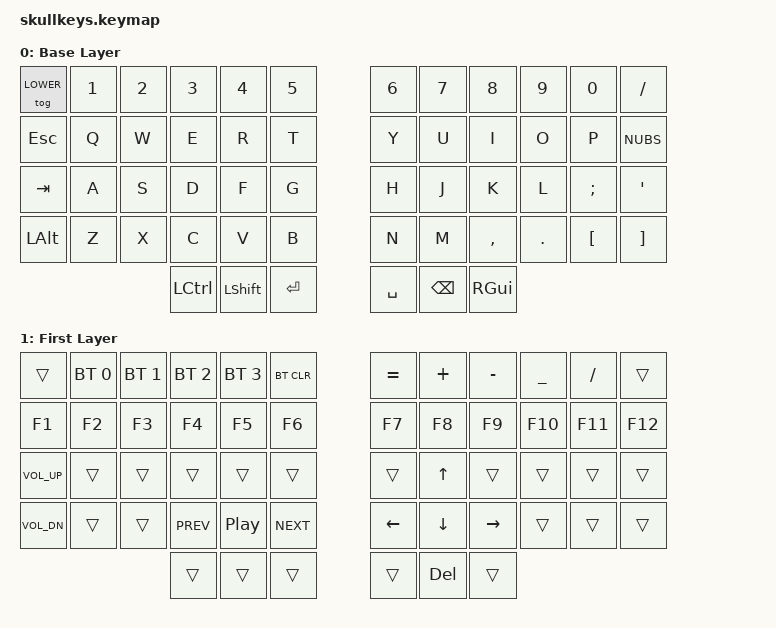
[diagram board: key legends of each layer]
/*
 * Copyright (c) 2020 The ZMK Contributors
 *
 * SPDX-License-Identifier: MIT
 */

#include <behaviors.dtsi>
#include <dt-bindings/zmk/keys.h>
#include <dt-bindings/zmk/bt.h>
#include <dt-bindings/zmk/ext_power.h>

#define DEFAULT 0
#define LOWER   1

&mt {
    tapping-term-ms = <400>;
};

/{
        keymap {
                compatible = "zmk,keymap";

                default_layer { //Layer 0
                        display-name = "Base Layer";
// ------------------------------------------------------------------------------------------------------------
// |  LYR1 |  1  |  2  |  3   |  4   |  5   |                   |  6   |  7    |  8    |  9   |   0   |   /   |
// |  ESC  |  Q  |  W  |  E   |  R   |  T   |                   |  Y   |  U    |  I    |  O   |   P   |   |   |
// |  TAB  |  A  |  S  |  D   |  F   |  G   |                   |  H   |  J    |  K    |  L   |   :   |   "   |
// |  ALT  |  Z  |  X  |  C   |  V   |  B   |                   |  N   |  M    |  ,    |  .   |   {   |   }   |
//                     | SHTF | CTRL | ENTER|                   | SPCE |BCKSPCE|  WIN  |
            bindings = <
&tog LOWER &kp N1  &kp N2    &kp N3    &kp N4    &kp N5          &kp N6    &kp N7    &kp N8       &kp N9  &kp N0    &kp SLASH
&kp ESC    &kp Q   &kp W     &kp E     &kp R     &kp T           &kp Y     &kp U     &kp I        &kp O   &kp P     &kp NUBS
&kp TAB    &kp A   &kp S     &kp D     &kp F     &kp G           &kp H     &kp J     &kp K        &kp L   &kp SEMI  &kp SQT
&kp LALT   &kp Z   &kp X     &kp C     &kp V     &kp B           &kp N     &kp M     &kp COMMA    &kp DOT &kp LBKT  &kp RBKT
                             &kp LCTRL &kp LSHFT &kp RET         &kp SPACE &kp BSPC  &kp RIGHT_GUI
                        >;
                };
                lower_layer {  //Layer 1
                        display-name = "First Layer";
// ------------------------------------------------------------------------------------------------------------
// |  LYR0  | BT0 | BT1 |   BT2  |  BT3  |  BTCLR  |                 |  =   |   +   |  "-"  |  "_" |       |       |
// |   F1   |  F2 |  F3 |   F4   |  F5   |   F6    |                 |  F7  |   F8  |   F9  |  F10 |  F11  |  F12  |
// | M.Vol+ |     |     |        |       |         |                 |      |   UP  |       |      |       |       |
// | M.Vol- |     |     | M.Prev |  M.PP |  M.Next |                 | LEFT |  DOWN | RIGHT |      |       |       |
//                      |        |       |         |                 |      |       |       |
            bindings = <
&trans        &bt BT_SEL 0  &bt BT_SEL 1  &bt BT_SEL 2  &bt BT_SEL 3 &bt BT_CLR         &kp EQUAL &kp PLUS  &kp MINUS &kp UNDER &kp SLASH &trans    
&kp F1        &kp F2        &kp F3        &kp F4        &kp F5       &kp F6             &kp F7    &kp F8    &kp F9    &kp F10   &kp F11   &kp F12
&kp C_VOL_UP  &trans        &trans        &trans        &trans       &trans             &trans    &kp UP    &trans    &trans    &trans    &trans    
&kp C_VOL_DN  &trans        &trans        &kp C_PREV    &kp C_PP     &kp C_NEXT         &kp LEFT  &kp DOWN  &kp RIGHT &trans    &trans    &trans
                                          &trans        &trans       &trans             &trans    &kp DEL   &trans 
                        >;
                };
                extra_0 {  //Extra_Layer 1
                        status = "reserved";       
                };   
                extra_1 {  //Extra_Layer 2
                        status = "reserved";       
                };    
        };
};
